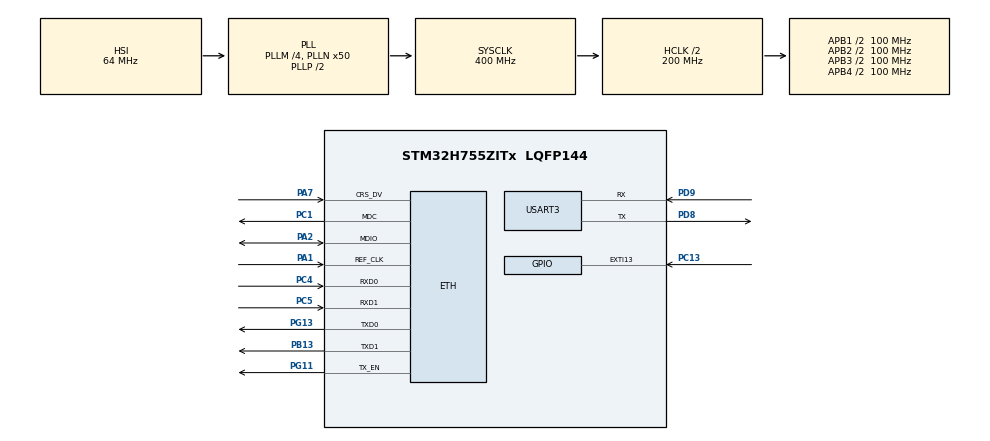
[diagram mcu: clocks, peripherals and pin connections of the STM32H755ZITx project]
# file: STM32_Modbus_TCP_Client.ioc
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CORTEX_M7.AccessPermission_S-Cortex_Memory_Protection_Unit_Region1_Settings_S=MPU_REGION_FULL_ACCESS
CORTEX_M7.BaseAddress_S-Cortex_Memory_Protection_Unit_Region1_Settings_S=0x30000000
CORTEX_M7.CPU_DCache=Enabled
CORTEX_M7.CPU_ICache=Enabled
CORTEX_M7.DisableExec_S-Cortex_Memory_Protection_Unit_Region1_Settings_S=MPU_INSTRUCTION_ACCESS_DISABLE
CORTEX_M7.Enable_S-Cortex_Memory_Protection_Unit_Region1_Settings_S=MPU_REGION_ENABLE
CORTEX_M7.IsShareable_S-Cortex_Memory_Protection_Unit_Region1_Settings_S=MPU_ACCESS_SHAREABLE
CORTEX_M7.Size_S-Cortex_Memory_Protection_Unit_Region1_Settings_S=MPU_REGION_SIZE_32KB
CORTEX_M7.TypeExtField_S-Cortex_Memory_Protection_Unit_Region1_Settings_S=MPU_TEX_LEVEL1
CORTEX_M7.default_mode_Activation=1
CortexM4.IPs=FATFS_M4\:I,FREERTOS_M4\:I,IWDG2\:I,RCC,WWDG2\:I,DMA,BDMA,MDMA,NVIC2\:I,DEBUG,PDM2PCM_M4\:I,PWR,RESMGR_UTILITY,SYS_M4\:I,USB_DEVICE_M4\:I,USB_HOST_M4\:I,CORTEX_M4\:I,GPIO,OPENAMP_M4\:I,VREFBUF,NUCLEO-H755ZI-Q
CortexM7.IPs=FATFS_M7\:I,FREERTOS_M7\:I,IWDG1\:I,RCC\:I,WWDG1\:I,DMA\:I,BDMA\:I,MDMA\:I,NVIC1\:I,ETH\:I,USART3\:I,SYS\:I,CORTEX_M7\:I,DEBUG\:I,PDM2PCM_M7\:I,PWR\:I,RESMGR_UTILITY\:I,USB_DEVICE_M7\:I,USB_HOST_M7\:I,GPIO\:I,OPENAMP_M7\:I,VREFBUF\:I,NUCLEO-H755ZI-Q\:I,LWIP\:I
CortexM7.Pins=PC13
ETH.MediaInterface=HAL_ETH_RMII_MODE
LWIP.BSP.number=1
LWIP.GATEWAY_ADDRESS=192.168.001.001
LWIP.IP_ADDRESS=192.168.001.100
LWIP.LWIP_DHCP=0
LWIP.LWIP_RAM_HEAP_POINTER=0x30004900
LWIP.MEM_SIZE=10*1024
LWIP.NETMASK_ADDRESS=255.255.255.000
LWIP.Version=v2.2.1_Cube
LWIP0.BSP.STBoard=false
LWIP0.BSP.api=BSP_COMPONENT_DRIVER
LWIP0.BSP.component=LAN8742
LWIP0.BSP.instance=LAN8742
LWIP0.BSP.name=Driver_PHY
LWIP0.BSP.semaphore=S_LAN8742
LWIP0.BSP.solution=LAN8742
Mcu.Family=STM32H7
Mcu.Name=STM32H755ZITx
Mcu.Package=LQFP144
NVIC1.EXTI15_10_IRQn=true\:0\:0\:false\:false\:true\:true\:true\:true
NVIC1.PriorityGroup=NVIC_PRIORITYGROUP_4
NVIC2.PriorityGroup=NVIC_PRIORITYGROUP_4
PA1.Mode=RMII
PA1.PinAttribute=CortexM7
PA1.Signal=ETH_REF_CLK
PA2.Mode=RMII
PA2.PinAttribute=CortexM7
PA2.Signal=ETH_MDIO
PA7.Mode=RMII
PA7.PinAttribute=CortexM7
PA7.Signal=ETH_CRS_DV
PB13.Mode=RMII
PB13.PinAttribute=CortexM7
PB13.Signal=ETH_TXD1
PC1.Mode=RMII
PC1.PinAttribute=CortexM7
PC1.Signal=ETH_MDC
PC13.PinAttribute=CortexM7
PC13.Signal=GPXTI13
PC4.Mode=RMII
PC4.PinAttribute=CortexM7
PC4.Signal=ETH_RXD0
PC5.Mode=RMII
PC5.PinAttribute=CortexM7
PC5.Signal=ETH_RXD1
PD8.Mode=Asynchronous
PD8.PinAttribute=CortexM7
PD8.Signal=USART3_TX
PD9.Mode=Asynchronous
PD9.PinAttribute=CortexM7
PD9.Signal=USART3_RX
PG11.Mode=RMII
PG11.PinAttribute=CortexM7
PG11.Signal=ETH_TX_EN
PG13.Mode=RMII
PG13.PinAttribute=CortexM7
PG13.Signal=ETH_TXD0
ProjectManager.HeapSize=M4-0x200,M7-0x200
ProjectManager.StackSize=M4-0x400,M7-0x400
ProjectManager.TargetToolchain=STM32CubeIDE
RCC.ADCFreq_Value=129000000
RCC.APB1Freq_Value=100000000
RCC.APB2Freq_Value=100000000
RCC.APB3Freq_Value=100000000
RCC.APB4Freq_Value=100000000
RCC.CortexFreq_Value=400000000
RCC.D1PPRE=RCC_APB3_DIV2
RCC.D2PPRE1=RCC_APB1_DIV2
RCC.D2PPRE2=RCC_APB2_DIV2
RCC.D3PPRE=RCC_APB4_DIV2
RCC.DIVM1=4
RCC.DIVN1=50
RCC.DIVQ1=5
RCC.HCLKFreq_Value=200000000
RCC.HPRE=RCC_HCLK_DIV2
RCC.PLL2FRACN=0
RCC.PLL3FRACN=0
RCC.PLLFRACN=0
RCC.SYSCLKFreq_VALUE=400000000
RCC.SYSCLKSource=RCC_SYSCLKSOURCE_PLLCLK
RCC.SupplySource=PWR_DIRECT_SMPS_SUPPLY
RCC.USART234578CLockSelection=RCC_USART234578CLKSOURCE_HSI
RCC.USBFreq_Value=160000000
USART3.VirtualMode-Asynchronous=VM_ASYNC
VP_LWIP_VS_Enabled.Mode=Enabled
VP_SYS_M4_VS_Systick.Mode=SysTick
board=NUCLEO-H755ZI-Q

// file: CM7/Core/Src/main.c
/* USER CODE BEGIN Header */
/**
  ******************************************************************************
  * @file           : main.c
  * @brief          : Main program body
  ******************************************************************************
  * @attention
  *
  * Copyright (c) 2026 STMicroelectronics.
  * All rights reserved.
  *
  * This software is licensed under terms that can be found in the LICENSE file
  * in the root directory of this software component.
  * If no LICENSE file comes with this software, it is provided AS-IS.
  *
  ******************************************************************************
  */
/* USER CODE END Header */
#include "main.h"
#include "lwip.h"

/* USER CODE BEGIN Includes */
#include "Modbus_Client.h"
#include "Modbus_Client_Request.h"
/* USER CODE END Includes */

/* USER CODE BEGIN PD */

/* DUAL_CORE_BOOT_SYNC_SEQUENCE: Define for dual core boot synchronization    */
/*                             demonstration code based on hardware semaphore */
/* This define is present in both CM7/CM4 projects                            */
/* To comment when developping/debugging on a single core                     */
//#define DUAL_CORE_BOOT_SYNC_SEQUENCE

#if defined(DUAL_CORE_BOOT_SYNC_SEQUENCE)
#ifndef HSEM_ID_0
#define HSEM_ID_0 (0U) /* HW semaphore 0*/
#endif
#endif /* DUAL_CORE_BOOT_SYNC_SEQUENCE */

/* USER CODE END PD */

UART_HandleTypeDef huart3;

void SystemClock_Config(void);
static void MPU_Config(void);
static void MX_GPIO_Init(void);
static void MX_USART3_UART_Init(void);

/* USER CODE BEGIN 0 */

int _write(int fd, unsigned char *buf, int len) {
  if (fd == 1 || fd == 2) {
    HAL_UART_Transmit(&huart3, buf, len, 999);
  }
  return len;
}

int counter = 0;
volatile int isPressed = 0;

void HAL_GPIO_EXTI_Callback(uint16_t GPIO_Pin)
{
	isPressed = 1;
}

/* USER CODE END 0 */

int main(void)
{

/* USER CODE BEGIN Boot_Mode_Sequence_0 */
#if defined(DUAL_CORE_BOOT_SYNC_SEQUENCE)
  int32_t timeout;
#endif /* DUAL_CORE_BOOT_SYNC_SEQUENCE */
/* USER CODE END Boot_Mode_Sequence_0 */

  /* MPU Configuration--------------------------------------------------------*/
  MPU_Config();

  /* Enable the CPU Cache */

  /* Enable I-Cache---------------------------------------------------------*/
  SCB_EnableICache();

  /* Enable D-Cache---------------------------------------------------------*/
  SCB_EnableDCache();

/* USER CODE BEGIN Boot_Mode_Sequence_1 */
#if defined(DUAL_CORE_BOOT_SYNC_SEQUENCE)
  /* Wait until CPU2 boots and enters in stop mode or timeout*/
  timeout = 0xFFFF;
  while((__HAL_RCC_GET_FLAG(RCC_FLAG_D2CKRDY) != RESET) && (timeout-- > 0));
  if ( timeout < 0 )
  {
  Error_Handler();
  }
#endif /* DUAL_CORE_BOOT_SYNC_SEQUENCE */
/* USER CODE END Boot_Mode_Sequence_1 */
  /* MCU Configuration--------------------------------------------------------*/

  /* Reset of all peripherals, Initializes the Flash interface and the Systick. */
  HAL_Init();

  /* Configure the system clock */
  SystemClock_Config();
/* USER CODE BEGIN Boot_Mode_Sequence_2 */
#if defined(DUAL_CORE_BOOT_SYNC_SEQUENCE)
/* When system initialization is finished, Cortex-M7 will release Cortex-M4 by means of
HSEM notification */
/*HW semaphore Clock enable*/
__HAL_RCC_HSEM_CLK_ENABLE();
/*Take HSEM */
HAL_HSEM_FastTake(HSEM_ID_0);
/*Release HSEM in order to notify the CPU2(CM4)*/
HAL_HSEM_Release(HSEM_ID_0,0);
/* wait until CPU2 wakes up from stop mode */
timeout = 0xFFFF;
while((__HAL_RCC_GET_FLAG(RCC_FLAG_D2CKRDY) == RESET) && (timeout-- > 0));
if ( timeout < 0 )
{
Error_Handler();
}
#endif /* DUAL_CORE_BOOT_SYNC_SEQUENCE */
/* USER CODE END Boot_Mode_Sequence_2 */

  /* Initialize all configured peripherals */
  MX_GPIO_Init();
  MX_USART3_UART_Init();
  MX_LWIP_Init();

  /* Infinite loop */
  while (1)
  {

    /* USER CODE BEGIN 3 */

	  MX_LWIP_Process();
	  Modbus_Client_Process("192.168.1.10", 502);

	  if (isPressed == 1)
	  {
		  HAL_Delay(200);  // debouncing
		  isPressed = 0;
		  counter++;

		  switch (counter)
		  {
		 	case 1:
		 		MB_WriteSingleRegister(counter, 1, 5, 8888);
		 		break;
		 	case 2:
		 		uint16_t  regs[3] = {1111, 2222, 3333};
		 		MB_WriteMultipleRegisters(counter, 1, 7, 3, regs);
		 		break;
		 	case 3:
		 		MB_WriteSingleCoil(counter, 1, 5, 0);
		 		break;
		 	case 4:
		 		uint8_t coils[6] = {0, 0, 0, 0, 0, 0};
		 		MB_WriteMultipleCoils(counter, 1, 10, 6, coils);
		 		break;
		 	case 5:
		 		MB_ReadHoldingRegisters(counter, 1, 0, 10);
		 		break;
		 	case 6:
		 		MB_ReadCoils(counter, 1, 0, 16);
		 		break;

		  default:
			  break;
		  }

		  if (counter >= 6) counter = 0;
	  }
  }
  /* USER CODE END 3 */
}

void SystemClock_Config(void)
{
  RCC_OscInitTypeDef RCC_OscInitStruct = {0};
  RCC_ClkInitTypeDef RCC_ClkInitStruct = {0};

  /** Supply configuration update enable
  */
  HAL_PWREx_ConfigSupply(PWR_DIRECT_SMPS_SUPPLY);

  /** Configure the main internal regulator output voltage
  */
  __HAL_PWR_VOLTAGESCALING_CONFIG(PWR_REGULATOR_VOLTAGE_SCALE1);

  while(!__HAL_PWR_GET_FLAG(PWR_FLAG_VOSRDY)) {}

  /** Initializes the RCC Oscillators according to the specified parameters
  * in the RCC_OscInitTypeDef structure.
  */
  RCC_OscInitStruct.OscillatorType = RCC_OSCILLATORTYPE_HSI;
  RCC_OscInitStruct.HSIState = RCC_HSI_DIV1;
  RCC_OscInitStruct.HSICalibrationValue = RCC_HSICALIBRATION_DEFAULT;
  RCC_OscInitStruct.PLL.PLLState = RCC_PLL_ON;
  RCC_OscInitStruct.PLL.PLLSource = RCC_PLLSOURCE_HSI;
  RCC_OscInitStruct.PLL.PLLM = 4;
  RCC_OscInitStruct.PLL.PLLN = 50;
  RCC_OscInitStruct.PLL.PLLP = 2;
  RCC_OscInitStruct.PLL.PLLQ = 5;
  RCC_OscInitStruct.PLL.PLLR = 2;
  RCC_OscInitStruct.PLL.PLLRGE = RCC_PLL1VCIRANGE_3;
  RCC_OscInitStruct.PLL.PLLVCOSEL = RCC_PLL1VCOWIDE;
  RCC_OscInitStruct.PLL.PLLFRACN = 0;
  if (HAL_RCC_OscConfig(&RCC_OscInitStruct) != HAL_OK)
  {
    Error_Handler();
  }

  /** Initializes the CPU, AHB and APB buses clocks
  */
  RCC_ClkInitStruct.ClockType = RCC_CLOCKTYPE_HCLK|RCC_CLOCKTYPE_SYSCLK
                              |RCC_CLOCKTYPE_PCLK1|RCC_CLOCKTYPE_PCLK2
                              |RCC_CLOCKTYPE_D3PCLK1|RCC_CLOCKTYPE_D1PCLK1;
  RCC_ClkInitStruct.SYSCLKSource = RCC_SYSCLKSOURCE_PLLCLK;
  RCC_ClkInitStruct.SYSCLKDivider = RCC_SYSCLK_DIV1;
  RCC_ClkInitStruct.AHBCLKDivider = RCC_HCLK_DIV2;
  RCC_ClkInitStruct.APB3CLKDivider = RCC_APB3_DIV2;
  RCC_ClkInitStruct.APB1CLKDivider = RCC_APB1_DIV2;
  RCC_ClkInitStruct.APB2CLKDivider = RCC_APB2_DIV2;
  RCC_ClkInitStruct.APB4CLKDivider = RCC_APB4_DIV2;

  if (HAL_RCC_ClockConfig(&RCC_ClkInitStruct, FLASH_LATENCY_2) != HAL_OK)
  {
    Error_Handler();
  }
}

static void MX_USART3_UART_Init(void)
{

  huart3.Instance = USART3;
  huart3.Init.BaudRate = 115200;
  huart3.Init.WordLength = UART_WORDLENGTH_8B;
  huart3.Init.StopBits = UART_STOPBITS_1;
  huart3.Init.Parity = UART_PARITY_NONE;
  huart3.Init.Mode = UART_MODE_TX_RX;
  huart3.Init.HwFlowCtl = UART_HWCONTROL_NONE;
  huart3.Init.OverSampling = UART_OVERSAMPLING_16;
  huart3.Init.OneBitSampling = UART_ONE_BIT_SAMPLE_DISABLE;
  huart3.Init.ClockPrescaler = UART_PRESCALER_DIV1;
  huart3.AdvancedInit.AdvFeatureInit = UART_ADVFEATURE_NO_INIT;
  if (HAL_UART_Init(&huart3) != HAL_OK)
  {
    Error_Handler();
  }
  if (HAL_UARTEx_SetTxFifoThreshold(&huart3, UART_TXFIFO_THRESHOLD_1_8) != HAL_OK)
  {
    Error_Handler();
  }
  if (HAL_UARTEx_SetRxFifoThreshold(&huart3, UART_RXFIFO_THRESHOLD_1_8) != HAL_OK)
  {
    Error_Handler();
  }
  if (HAL_UARTEx_DisableFifoMode(&huart3) != HAL_OK)
  {
    Error_Handler();
  }

}

static void MX_GPIO_Init(void)
{
  GPIO_InitTypeDef GPIO_InitStruct = {0};

  /* GPIO Ports Clock Enable */
  __HAL_RCC_GPIOC_CLK_ENABLE();
  __HAL_RCC_GPIOA_CLK_ENABLE();
  __HAL_RCC_GPIOB_CLK_ENABLE();
  __HAL_RCC_GPIOD_CLK_ENABLE();
  __HAL_RCC_GPIOG_CLK_ENABLE();

  /*Configure GPIO pin : PC13 */
  GPIO_InitStruct.Pin = GPIO_PIN_13;
  GPIO_InitStruct.Mode = GPIO_MODE_IT_RISING;
  GPIO_InitStruct.Pull = GPIO_NOPULL;
  HAL_GPIO_Init(GPIOC, &GPIO_InitStruct);

  /* EXTI interrupt init*/
  HAL_NVIC_SetPriority(EXTI15_10_IRQn, 0, 0);
  HAL_NVIC_EnableIRQ(EXTI15_10_IRQn);

}

 /* MPU Configuration */

void MPU_Config(void)
{
  MPU_Region_InitTypeDef MPU_InitStruct = {0};

  /* Disables the MPU */
  HAL_MPU_Disable();

  /** Initializes and configures the Region and the memory to be protected
  */
  MPU_InitStruct.Enable = MPU_REGION_ENABLE;
  MPU_InitStruct.Number = MPU_REGION_NUMBER0;
  MPU_InitStruct.BaseAddress = 0x0;
  MPU_InitStruct.Size = MPU_REGION_SIZE_4GB;
  MPU_InitStruct.SubRegionDisable = 0x87;
  MPU_InitStruct.TypeExtField = MPU_TEX_LEVEL0;
  MPU_InitStruct.AccessPermission = MPU_REGION_NO_ACCESS;
  MPU_InitStruct.DisableExec = MPU_INSTRUCTION_ACCESS_DISABLE;
  MPU_InitStruct.IsShareable = MPU_ACCESS_SHAREABLE;
  MPU_InitStruct.IsCacheable = MPU_ACCESS_NOT_CACHEABLE;
  MPU_InitStruct.IsBufferable = MPU_ACCESS_NOT_BUFFERABLE;

  HAL_MPU_ConfigRegion(&MPU_InitStruct);

  /** Initializes and configures the Region and the memory to be protected
  */
  MPU_InitStruct.Number = MPU_REGION_NUMBER1;
  MPU_InitStruct.BaseAddress = 0x30000000;
  MPU_InitStruct.Size = MPU_REGION_SIZE_32KB;
  MPU_InitStruct.SubRegionDisable = 0x0;
  MPU_InitStruct.TypeExtField = MPU_TEX_LEVEL1;
  MPU_InitStruct.AccessPermission = MPU_REGION_FULL_ACCESS;

  HAL_MPU_ConfigRegion(&MPU_InitStruct);
  /* Enables the MPU */
  HAL_MPU_Enable(MPU_PRIVILEGED_DEFAULT);

}

void Error_Handler(void)
{
  __disable_irq();
  while (1)
  {
  }
}
